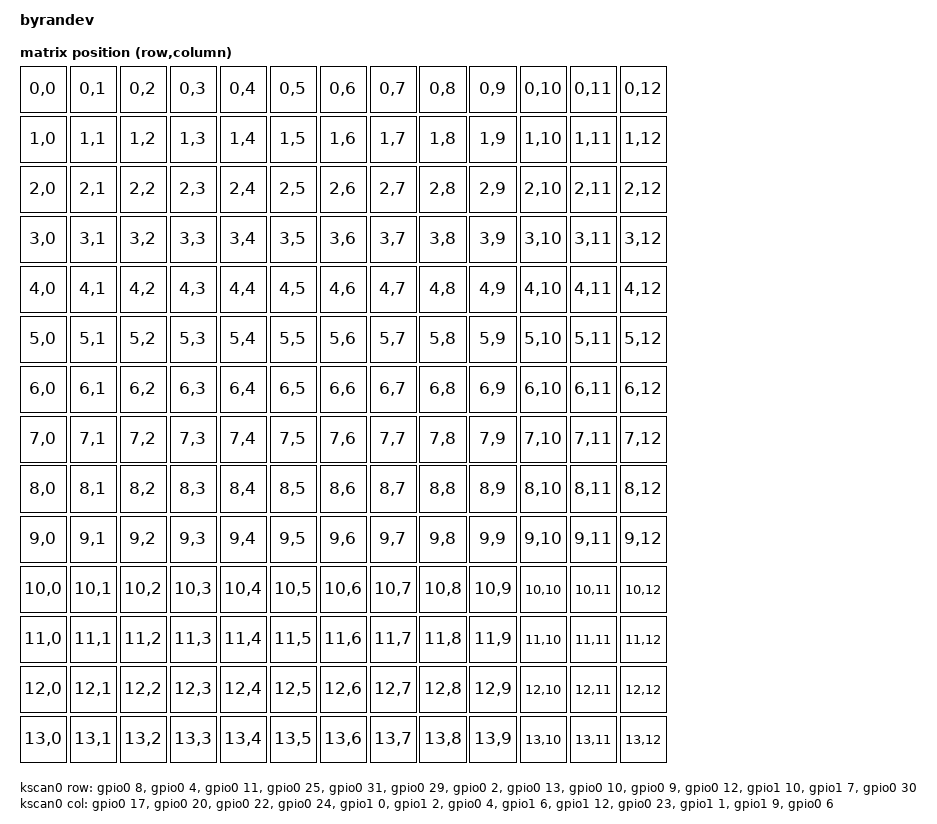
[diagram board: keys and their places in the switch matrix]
/*
 * Copyright (c) 2020 The ZMK Contributors
 *
 * SPDX-License-Identifier: MIT
 */

/dts-v1/;
#include <nordic/nrf52840_qiaa.dtsi>
#include <dt-bindings/zmk/matrix_transform.h>

/ {
	model = "byrandev";
	compatible = "byran,dev";

	chosen {
		zephyr,code-partition = &code_partition;
		zephyr,sram = &sram0;
		zephyr,flash = &flash0;
		zephyr,console = &cdc_acm_uart;
		zmk,battery = &vbatt;
		zmk,matrix_transform = &default_transform;
		zmk,kscan = &kscan0;
	};

	default_transform: keymap_transform_0 {
		compatible = "zmk,matrix-transform";
		columns = <13>;
		rows = <14>;
		map = <
RC(0,0)  RC(0,1)  RC(0,2)  RC(0,3)  RC(0,4)  RC(0,5)  RC(0,6)  RC(0,7)  RC(0,8)  RC(0,9)  RC(0,10)  RC(0,11)  RC(0,12)
RC(1,0)  RC(1,1)  RC(1,2)  RC(1,3)  RC(1,4)  RC(1,5)  RC(1,6)  RC(1,7)  RC(1,8)  RC(1,9)  RC(1,10)  RC(1,11)  RC(1,12)
RC(2,0)  RC(2,1)  RC(2,2)  RC(2,3)  RC(2,4)  RC(2,5)  RC(2,6)  RC(2,7)  RC(2,8)  RC(2,9)  RC(2,10)  RC(2,11)  RC(2,12)
RC(3,0)  RC(3,1)  RC(3,2)  RC(3,3)  RC(3,4)  RC(3,5)  RC(3,6)  RC(3,7)  RC(3,8)  RC(3,9)  RC(3,10)  RC(3,11)  RC(3,12)
RC(4,0)  RC(4,1)  RC(4,2)  RC(4,3)  RC(4,4)  RC(4,5)  RC(4,6)  RC(4,7)  RC(4,8)  RC(4,9)  RC(4,10)  RC(4,11)  RC(4,12)
RC(5,0)  RC(5,1)  RC(5,2)  RC(5,3)  RC(5,4)  RC(5,5)  RC(5,6)  RC(5,7)  RC(5,8)  RC(5,9)  RC(5,10)  RC(5,11)  RC(5,12)
RC(6,0)  RC(6,1)  RC(6,2)  RC(6,3)  RC(6,4)  RC(6,5)  RC(6,6)  RC(6,7)  RC(6,8)  RC(6,9)  RC(6,10)  RC(6,11)  RC(6,12)
RC(7,0)  RC(7,1)  RC(7,2)  RC(7,3)  RC(7,4)  RC(7,5)  RC(7,6)  RC(7,7)  RC(7,8)  RC(7,9)  RC(7,10)  RC(7,11)  RC(7,12)
RC(8,0)  RC(8,1)  RC(8,2)  RC(8,3)  RC(8,4)  RC(8,5)  RC(8,6)  RC(8,7)  RC(8,8)  RC(8,9)  RC(8,10)  RC(8,11)  RC(8,12)
RC(9,0)  RC(9,1)  RC(9,2)  RC(9,3)  RC(9,4)  RC(9,5)  RC(9,6)  RC(9,7)  RC(9,8)  RC(9,9)  RC(9,10)  RC(9,11)  RC(9,12)
RC(10,0) RC(10,1) RC(10,2) RC(10,3) RC(10,4) RC(10,5) RC(10,6) RC(10,7) RC(10,8) RC(10,9) RC(10,10) RC(10,11) RC(10,12)
RC(11,0) RC(11,1) RC(11,2) RC(11,3) RC(11,4) RC(11,5) RC(11,6) RC(11,7) RC(11,8) RC(11,9) RC(11,10) RC(11,11) RC(11,12)
RC(12,0) RC(12,1) RC(12,2) RC(12,3) RC(12,4) RC(12,5) RC(12,6) RC(12,7) RC(12,8) RC(12,9) RC(12,10) RC(12,11) RC(12,12)
RC(13,0) RC(13,1) RC(13,2) RC(13,3) RC(13,4) RC(13,5) RC(13,6) RC(13,7) RC(13,8) RC(13,9) RC(13,10) RC(13,11) RC(13,12)
		>;
	};

	kscan0: kscan {
		compatible = "zmk,kscan-gpio-matrix";
		label = "KSCAN";

		diode-direction = "col2row";
		row-gpios
			= <&gpio0 8 (GPIO_ACTIVE_HIGH | GPIO_PULL_DOWN)>
			, <&gpio0 4 (GPIO_ACTIVE_HIGH | GPIO_PULL_DOWN)>
			, <&gpio0 11 (GPIO_ACTIVE_HIGH | GPIO_PULL_DOWN)>
			, <&gpio0 25 (GPIO_ACTIVE_HIGH | GPIO_PULL_DOWN)>
			, <&gpio0 31 (GPIO_ACTIVE_HIGH | GPIO_PULL_DOWN)>
			, <&gpio0 29 (GPIO_ACTIVE_HIGH | GPIO_PULL_DOWN)>
			, <&gpio0 2 (GPIO_ACTIVE_HIGH | GPIO_PULL_DOWN)>
			, <&gpio0 13 (GPIO_ACTIVE_HIGH | GPIO_PULL_DOWN)>
			, <&gpio0 10 (GPIO_ACTIVE_HIGH | GPIO_PULL_DOWN)>
			, <&gpio0 9 (GPIO_ACTIVE_HIGH | GPIO_PULL_DOWN)>
			, <&gpio0 12 (GPIO_ACTIVE_HIGH | GPIO_PULL_DOWN)>
			, <&gpio1 10 (GPIO_ACTIVE_HIGH | GPIO_PULL_DOWN)>
			, <&gpio1 7 (GPIO_ACTIVE_HIGH | GPIO_PULL_DOWN)>
			, <&gpio0 30 (GPIO_ACTIVE_HIGH | GPIO_PULL_DOWN)>
			;
		col-gpios
			= <&gpio0 17 GPIO_ACTIVE_HIGH>
			, <&gpio0 20 GPIO_ACTIVE_HIGH>
			, <&gpio0 22 GPIO_ACTIVE_HIGH>
			, <&gpio0 24 GPIO_ACTIVE_HIGH>
			, <&gpio1 0  GPIO_ACTIVE_HIGH>
			, <&gpio1 2  GPIO_ACTIVE_HIGH>
			, <&gpio0 4  GPIO_ACTIVE_HIGH>
			, <&gpio1 6  GPIO_ACTIVE_HIGH>
			, <&gpio1 12  GPIO_ACTIVE_HIGH>
			, <&gpio0 23  GPIO_ACTIVE_HIGH>
			, <&gpio1 1  GPIO_ACTIVE_HIGH>
			, <&gpio1 9  GPIO_ACTIVE_HIGH>
			, <&gpio0 6  GPIO_ACTIVE_HIGH>
			;
	};

	leds {
		compatible = "gpio-leds";
		blue_led: led_0 {
			gpios = <&gpio0 15 GPIO_ACTIVE_HIGH>;
			label = "Blue LED";
		};
	};

	ext-power {
		compatible = "zmk,ext-power-generic";
		label = "EXT_POWER";
		control-gpios = <&gpio0 13 GPIO_ACTIVE_HIGH>;
		init-delay-ms = <50>;
	};

	vbatt: vbatt {
		compatible = "zmk,battery-voltage-divider";
		label = "BATTERY";
		io-channels = <&adc 1>;
		output-ohms = <10000000>;
		full-ohms = <(10000000 + 4000000)>;
	};
};

&adc {
	status = "okay";
};

&gpiote {
	status = "okay";
};

&gpio0 {
	status = "okay";
};

&gpio1 {
	status = "okay";
};

&i2c0 {
	compatible = "nordic,nrf-twi";
	sda-pin = <17>;
	scl-pin = <20>;
};

&uart0 {
	compatible = "nordic,nrf-uarte";
	tx-pin = <8>;
	rx-pin = <4>;
};

&usbd {
	status = "okay";
	cdc_acm_uart: cdc_acm_uart {
		compatible = "zephyr,cdc-acm-uart";
		label = "CDC_ACM_0";
	};
};


&flash0 {
	/*
	 * For more information, see:
	 * http://docs.zephyrproject.org/latest/devices/dts/flash_partitions.html
	 */
	partitions {
		compatible = "fixed-partitions";
		#address-cells = <1>;
		#size-cells = <1>;

		sd_partition: partition@0 {
			label = "softdevice";
			reg = <0x00000000 0x00026000>;
		};
		code_partition: partition@26000 {
			label = "code_partition";
			reg = <0x00026000 0x000c6000>;
		};

		/*
		 * The flash starting at 0x000ec000 and ending at
		 * 0x000f3fff is reserved for use by the application.
		 */

		/*
		 * Storage partition will be used by FCB/LittleFS/NVS
		 * if enabled.
		 */
		storage_partition: partition@ec000 {
			label = "storage";
			reg = <0x000ec000 0x00008000>;
		};

		boot_partition: partition@f4000 {
			label = "adafruit_boot";
			reg = <0x000f4000 0x0000c000>;
		};
	};
};
